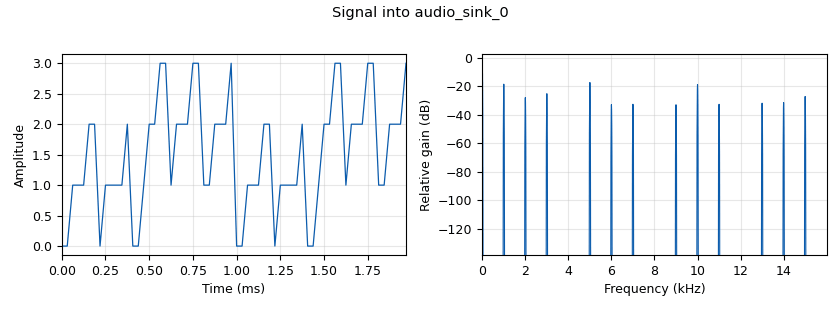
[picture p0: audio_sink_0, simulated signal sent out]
options:
  parameters:
    generate_options: qt_gui
    id: SineWave2
    output_language: python
    title: second flowgraph
  states: {}

blocks:
- name: fr0
  id: variable_qtgui_range
  parameters:
    orient: Qt.Horizontal
    start: '1000'
    step: '100'
    stop: '10000'
    value: '1000'
    widget: dial
  states: {}
- name: fr1
  id: variable_qtgui_range
  parameters:
    orient: Qt.Horizontal
    start: '1000'
    step: '100'
    stop: '20000'
    value: '5000'
    widget: dial
  states: {}
- name: fr2
  id: variable_qtgui_range
  parameters:
    orient: Qt.Horizontal
    start: '10000'
    step: '100'
    stop: '20000'
    value: '10000'
    widget: dial
  states: {}
- name: samp_rate
  id: variable
  parameters:
    value: '32000'
  states: {}
- name: analog_sig_source_x_0
  id: analog_sig_source_x
  parameters:
    amp: '1'
    freq: fr0
    offset: '0'
    phase: '0'
    samp_rate: samp_rate
    type: float
    waveform: analog.GR_SQR_WAVE
  states: {}
- name: analog_sig_source_x_0_0
  id: analog_sig_source_x
  parameters:
    amp: '1'
    freq: fr1
    offset: '0'
    phase: '0'
    samp_rate: samp_rate
    type: float
    waveform: analog.GR_SQR_WAVE
  states: {}
- name: analog_sig_source_x_0_0_0
  id: analog_sig_source_x
  parameters:
    amp: '1'
    freq: fr2
    offset: '0'
    phase: '0'
    samp_rate: samp_rate
    type: float
    waveform: analog.GR_SQR_WAVE
  states: {}
- name: audio_sink_0
  id: audio_sink
  parameters:
    samp_rate: samp_rate
  states: {}
- name: blocks_add_xx_0
  id: blocks_add_xx
  parameters:
    num_inputs: '3'
    type: float
  states: {}
- name: blocks_throttle_0
  id: blocks_throttle
  parameters:
    samples_per_second: samp_rate
    type: float
  states: {state: disabled}
- name: qtgui_sink_x_0
  id: qtgui_sink_x
  parameters:
    bw: samp_rate
    fc: '0'
    fftsize: '1024'
    type: float
    wintype: firdes.WIN_BLACKMAN_hARRIS
  states: {state: disabled}

connections:
- [analog_sig_source_x_0, '0', blocks_add_xx_0, '0']
- [analog_sig_source_x_0_0, '0', blocks_add_xx_0, '1']
- [analog_sig_source_x_0_0_0, '0', blocks_add_xx_0, '2']
- [blocks_add_xx_0, '0', audio_sink_0, '0']
- [blocks_add_xx_0, '0', blocks_throttle_0, '0']
- [blocks_throttle_0, '0', audio_sink_0, '0']
- [blocks_throttle_0, '0', qtgui_sink_x_0, '0']

metadata:
  file_format: 1
